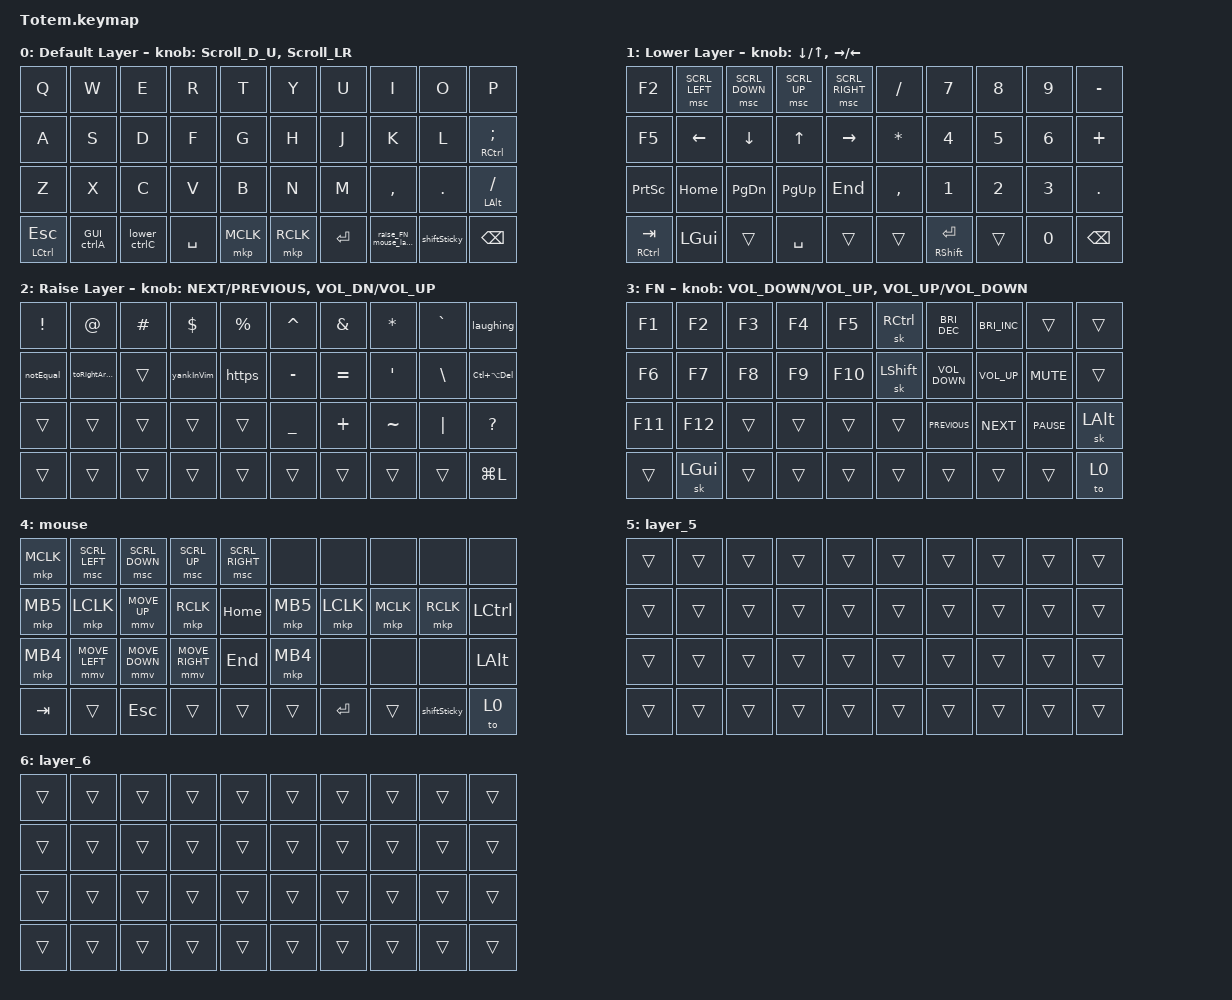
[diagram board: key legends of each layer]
/*
 * Copyright (c) 2020 The ZMK Contributors
 *
 * SPDX-License-Identifier: MIT
 */

#include <input/processors.dtsi>
#include <zephyr/dt-bindings/input/input-event-codes.h>
#include <dt-bindings/zmk/mouse.h>
#include <behaviors/mouse_keys.dtsi>
#include <behaviors.dtsi>
#include <dt-bindings/zmk/keys.h>
#include <dt-bindings/zmk/pointing.h>

#define ZMK_POINTING_DEFAULT_MOVE_VAL 1200  // 600
#define ZMK_POINTING_DEFAULT_SCRL_VAL 300   // mousescroll SPEED
#define BASE 0
#define LOWER 1
#define RAISE 2
#define FN 3

&mmv_input_listener { input-processors = <&zip_xy_scaler 2 1>; };

&msc_input_listener { input-processors = <&zip_scroll_scaler 2 1>; };

&msc {
    acceleration-exponent = <1>;      // 0
    time-to-max-speed-ms = <3000>;       // 300
    delay-ms = <0>;                   // 0
};

&mmv {
    time-to-max-speed-ms = <1000>;
    acceleration-exponent = <1>;
    trigger-period-ms = <16>;
};

&soft_off {
    hold-time-ms = <3000>; // Only turn off it the key is held for 3 seconds or longer.
};

&mt {
    tapping-term-ms = <300>;
    flavor = "balanced";
};

&lt {
    tapping-term-ms = <300>;
    flavor = "balanced";
};

&caps_word {
};

&sk {
    quick-release;
    lazy;

    /delete-property/ ignore-modifiers;
};

&sl {
};

/ {
    behaviors {
        Scroll_D_U: Scroll_D_U {
            compatible = "zmk,behavior-sensor-rotate";
            label = "SCROLL_D_U";
            #sensor-binding-cells = <0>;
            bindings = <&msc SCRL_DOWN>, <&msc SCRL_UP>;

            tap-ms = <20>;
        };

        TD01: TD01 {
            compatible = "zmk,behavior-tap-dance";
            label = "TD01";
            #binding-cells = <0>;
            bindings = <&kp MINUS>, <&kp PERIOD>;
        };

        Scroll_U_D: Scroll_U_D {
            compatible = "zmk,behavior-sensor-rotate";
            label = "SCROLL_U_D";
            #sensor-binding-cells = <0>;
            bindings = <&msc SCRL_UP>, <&msc SCRL_DOWN>;

            tap-ms = <20>;
        };

        Scroll_LR: Scroll_LR {
            compatible = "zmk,behavior-sensor-rotate";
            label = "SCROLL_LR";
            #sensor-binding-cells = <0>;
            bindings = <&msc SCRL_LEFT>, <&msc SCRL_RIGHT>;

            tap-ms = <20>;
        };

        Scroll_RL: Scroll_RL {
            compatible = "zmk,behavior-sensor-rotate";
            label = "SCROLL_RL";
            #sensor-binding-cells = <0>;
            bindings = <&msc SCRL_RIGHT>, <&msc SCRL_LEFT>;

            tap-ms = <20>;
        };

        laughing: laughing {
            compatible = "zmk,behavior-tap-dance";
            label = "LAUGHING";
            #binding-cells = <0>;
            bindings = <&hihi>, <&haha>;
        };

        raise_FN_mouse_layer: raise_FN_mouse_layer {
            compatible = "zmk,behavior-tap-dance";
            label = "RAISE_FN_MOUSE_LAYER";
            #binding-cells = <0>;
            bindings = <&mo 2>, <&to 4>, <&sl 3>, <&to 4>;
        };

        shiftSticky: shiftSticky {
            compatible = "zmk,behavior-tap-dance";
            label = "SHIFTSTICKY";
            #binding-cells = <0>;
            bindings = <&sk LEFT_SHIFT>;
        };

        GUI_ctrlA: GUI_ctrlA {
            compatible = "zmk,behavior-tap-dance";
            label = "GUI_CTRLA";
            #binding-cells = <0>;
            bindings = <&kp LEFT_GUI>, <&kp LC(A)>;
        };

        lower_ctrlC: lower_ctrlC {
            compatible = "zmk,behavior-tap-dance";
            label = "LOWER_CTRLC";
            #binding-cells = <0>;
            bindings = <&mo 1>, <&kp LC(C)>;
        };
    };

    combos {
        compatible = "zmk,combos";

        doubleQuotes {
            bindings = <&kp DOUBLE_QUOTES>;
            key-positions = <6 8>;
            layers = <0 2 1 3>;
        };

        LeftParenthesis {
            bindings = <&kp LEFT_PARENTHESIS>;
            key-positions = <6 7>;
        };

        rightParenthesis {
            bindings = <&kp RIGHT_PARENTHESIS>;
            key-positions = <7 8>;
        };

        leftBracket {
            bindings = <&kp LBKT>;
            key-positions = <16 17>;
        };

        rightBracket {
            bindings = <&kp RIGHT_BRACKET>;
            key-positions = <17 18>;
        };

        leftBrace {
            bindings = <&kp LEFT_BRACE>;
            key-positions = <26 27>;
        };

        rightBrace {
            bindings = <&kp RIGHT_BRACE>;
            key-positions = <27 28>;
        };

        lessThan {
            bindings = <&kp LESS_THAN>;
            key-positions = <16 18>;
        };

        greaterThan {
            bindings = <&kp GREATER_THAN>;
            key-positions = <26 28>;
        };

        colon {
            bindings = <&kp COLON>;
            key-positions = <18 19>;
        };

        backspace {
            bindings = <&kp BACKSPACE>;
            key-positions = <20 21>;
            layers = <0 1 2 3>;
        };

        delete {
            bindings = <&kp DEL>;
            key-positions = <21 22>;
            layers = <0 1 2 3>;
        };

        shift {
            bindings = <&kp LEFT_SHIFT>;
            key-positions = <22 23>;
            layers = <0 1 2 3>;
        };

        enter {
            bindings = <&kp RET>;
            key-positions = <24 13>;
            layers = <0 1 2 3>;
        };

        tab {
            bindings = <&kp TAB>;
            key-positions = <12 13>;
        };

        toLayer3 {
            bindings = <&to 3>;
            key-positions = <24 25>;
            layers = <0 1 2 3>;
        };

        capslock {
            bindings = <&kp CAPSLOCK>;
            key-positions = <4 5>;
        };

        capsWord {
            bindings = <&caps_word>;
            key-positions = <14 15>;
        };
    };

    macros {
        notEqual: different {
            compatible = "zmk,behavior-macro";
            #binding-cells = <0>;
            bindings = <&kp EXCLAMATION &kp EQUAL>, <&macro_press>;

            label = "DIFFERENT";
        };

        toRightArrow: toRightArrow {
            compatible = "zmk,behavior-macro";
            #binding-cells = <0>;
            bindings = <&kp MINUS &kp GREATER_THAN>, <&macro_press>;

            label = "TORIGHTARROW";
        };

        haha: haha {
            compatible = "zmk,behavior-macro";
            #binding-cells = <0>;
            bindings = <&none &kp EQUAL &kp RPAR &kp RPAR &kp RPAR &kp RPAR &kp RPAR &kp RPAR &kp RPAR &kp RPAR>;
            label = "HAHA";
        };

        hihi: hihi {
            compatible = "zmk,behavior-macro";
            #binding-cells = <0>;
            bindings = <&kp COLON &kp RPAR &kp RPAR &kp RPAR>;
            label = "HIHI";
        };

        yankInVim: yankInVim {
            compatible = "zmk,behavior-macro";
            #binding-cells = <0>;
            bindings = <&none &kp DQT &kp PLUS &kp Y>;
            label = "YANKINVIM";
        };

        https: https {
            compatible = "zmk,behavior-macro";
            #binding-cells = <0>;
            bindings = <&none &kp H &kp T &kp T &kp P &kp S &kp COLON &kp FSLH &kp FSLH>;
            label = "HTTPS";
        };
    };

    keymap {
        compatible = "zmk,keymap";

        default_layer {
            display-name = "Default Layer";
            bindings = <
&kp Q             &kp W       &kp E         &kp R      &kp T      &kp Y      &kp U    &kp I                  &kp O         &kp P
&kp A             &kp S       &kp D         &kp F      &kp G      &kp H      &kp J    &kp K                  &kp L         &mt RIGHT_CONTROL SEMICOLON
&kp Z             &kp X       &kp C         &kp V      &kp B      &kp N      &kp M    &kp COMMA              &kp DOT       &mt LEFT_ALT SLASH
&mt LCTRL ESCAPE  &GUI_ctrlA  &lower_ctrlC  &kp SPACE  &mkp MCLK  &mkp RCLK  &kp RET  &raise_FN_mouse_layer  &shiftSticky  &kp BACKSPACE
            >;

            sensor-bindings = <&Scroll_D_U>, <&Scroll_LR>;
        };

        lower_layer {
            display-name = "Lower Layer";
            bindings = <
&kp F2           &msc SCRL_LEFT  &msc SCRL_DOWN  &msc SCRL_UP  &msc SCRL_RIGHT  &kp SLASH     &kp N7                 &kp N8        &kp N9        &kp MINUS
&kp F5           &kp LEFT_ARROW  &kp DOWN        &kp UP_ARROW  &kp RIGHT        &kp ASTERISK  &kp NUMBER_4           &kp NUMBER_5  &kp NUMBER_6  &kp PLUS
&kp PRINTSCREEN  &kp HOME        &kp PAGE_DOWN   &kp PAGE_UP   &kp END          &kp COMMA     &kp NUMBER_1           &kp NUMBER_2  &kp NUMBER_3  &kp DOT
&mt RCTRL TAB    &kp LEFT_GUI    &trans          &kp SPACE     &trans           &trans        &mt RIGHT_SHIFT ENTER  &trans        &kp N0        &kp BACKSPACE
            >;

            sensor-bindings =
                <&inc_dec_kp DOWN UP_ARROW>,
                <&inc_dec_kp RIGHT LEFT>;
        };

        raise_layer {
            display-name = "Raise Layer";
            bindings = <
&kp EXCLAMATION  &kp AT_SIGN    &kp HASH  &kp DOLLAR  &kp PERCENT  &kp CARET       &kp AMPERSAND  &kp ASTERISK  &kp GRAVE      &laughing
&notEqual        &toRightArrow  &trans    &yankInVim  &https       &kp MINUS       &kp EQUAL      &kp SQT       &kp BACKSLASH  &kp LC(LA(DELETE))
&trans           &trans         &trans    &trans      &trans       &kp UNDERSCORE  &kp PLUS       &kp TILDE     &kp PIPE       &kp QUESTION
&trans           &trans         &trans    &trans      &trans       &trans          &trans         &trans        &trans         &kp LG(L)
            >;

            sensor-bindings =
                <&inc_dec_kp C_NEXT C_PREVIOUS>,
                <&inc_dec_kp C_VOL_DN C_VOL_UP>;
        };

        FN {
            bindings = <
&kp F1   &kp F2        &kp F3  &kp F4  &kp F5   &sk RCTRL       &kp C_BRIGHTNESS_DEC  &kp C_BRIGHTNESS_INC  &trans       &trans
&kp F6   &kp F7        &kp F8  &kp F9  &kp F10  &sk LEFT_SHIFT  &kp C_VOLUME_DOWN     &kp C_VOLUME_UP       &kp C_MUTE   &trans
&kp F11  &kp F12       &trans  &trans  &trans   &trans          &kp C_PREVIOUS        &kp C_NEXT            &kp C_PAUSE  &sk LEFT_ALT
&trans   &sk LEFT_GUI  &trans  &trans  &trans   &trans          &trans                &trans                &trans       &to 0
            >;

            sensor-bindings =
                <&inc_dec_kp C_VOLUME_DOWN C_VOLUME_UP>,
                <&inc_dec_kp C_VOLUME_UP C_VOLUME_DOWN>;
        };

        mouse {
            bindings = <
&mkp MCLK  &msc SCRL_LEFT  &msc SCRL_DOWN  &msc SCRL_UP     &msc SCRL_RIGHT  &none     &none      &none      &none         &none
&mkp MB5   &mkp LCLK       &mmv MOVE_UP    &mkp RCLK        &kp HOME         &mkp MB5  &mkp LCLK  &mkp MCLK  &mkp RCLK     &kp LCTRL
&mkp MB4   &mmv MOVE_LEFT  &mmv MOVE_DOWN  &mmv MOVE_RIGHT  &kp END          &mkp MB4  &none      &none      &none         &kp LEFT_ALT
&kp TAB    &trans          &kp ESC         &trans           &trans           &trans    &kp ENTER  &trans     &shiftSticky  &to 0
            >;
        };

        layer_5 {
            bindings = <
&trans  &trans  &trans  &trans  &trans  &trans  &trans  &trans  &trans  &trans
&trans  &trans  &trans  &trans  &trans  &trans  &trans  &trans  &trans  &trans
&trans  &trans  &trans  &trans  &trans  &trans  &trans  &trans  &trans  &trans
&trans  &trans  &trans  &trans  &trans  &trans  &trans  &trans  &trans  &trans
            >;
        };

        layer_6 {
            bindings = <
&trans  &trans  &trans  &trans  &trans  &trans  &trans  &trans  &trans  &trans
&trans  &trans  &trans  &trans  &trans  &trans  &trans  &trans  &trans  &trans
&trans  &trans  &trans  &trans  &trans  &trans  &trans  &trans  &trans  &trans
&trans  &trans  &trans  &trans  &trans  &trans  &trans  &trans  &trans  &trans
            >;
        };
    };

    conditional_layers { compatible = "zmk,conditional-layers"; };
};
